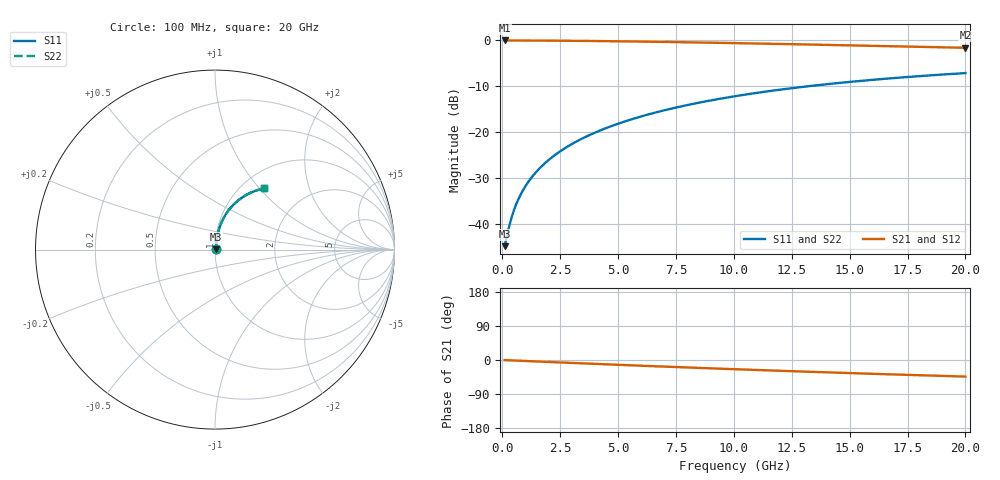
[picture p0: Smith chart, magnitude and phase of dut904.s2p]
! Touchstone file exported from HFSS 2024.1.0
!  File:  C:/UserFiles/LocalFiles/RDL_TSV_Batchsim/temp_RDL_bottom_904_1779940179.aedt
!  Generated:  11:52:33 AM May 28, 2026
!  Design:  RDL_bottom
!  Project:  temp_RDL_bottom_904_1779940179
!  Setup:  Setup1
!  Solution:  Sweep
! Variables:
!  dtsv = 10.80580581um
!  hbump = 3um
!  htsv = 51.3um
!  ldown = 605.82um
!  lrdl = 100um
!  p = 40
!  p1 = 45.16um
!  rhole = 1um
!  t = 450um
!  tdown = 2.67um
!  trdl = 3.915915916um
!  wdown = 16.55um
!  wrdl = 20um
# GHz S MA R 50.000000
! Terminal data exported
! Port[1] = RDL1_T1
! Port[2] = RDL1_T2
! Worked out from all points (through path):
!   200 points, 100 MHz to 20 GHz, reference 50 ohm
!   highest |S21| = -0.04 dB at 100 MHz (marker M1); lowest = -1.6 dB at 20 GHz (marker M2)
!   group delay of S21, straight-line fit = 6.07 ps
!   lowest |S11| = -44.9 dB at 100 MHz (marker M3), VSWR 1.01, Z = 50.5 + j0.264 ohm
!   |S11| at or under -10 dB: start of sweep to 13.27 GHz
!   |S22| runs from -44.9 to -7.2 dB; largest |S21 - S12| = 2.8e-15
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0.1  0.005659 27.5  0.995 -0.3  0.995 -0.3  0.005659 27.5
! Gamma 0 0 0 0
! Port Impedance 50 0 50 0
0.3  0.009378 55.7  0.9947 -0.8  0.9947 -0.8  0.009378 55.7
0.4  0.01161 61.9  0.9945 -1.1  0.9945 -1.1  0.01161 61.9
0.5  0.01391 65.9  0.9943 -1.3  0.9943 -1.3  0.01391 66.0
0.6  0.01622 68.8  0.9941 -1.6  0.9941 -1.6  0.01622 68.8
0.7  0.01855 70.9  0.9939 -1.9  0.9939 -1.9  0.01854 70.9
0.9  0.02321 73.9  0.9934 -2.4  0.9934 -2.4  0.02321 73.9
1.2  0.03027 76.6  0.9927 -3.1  0.9927 -3.1  0.03027 76.6
1.4  0.035 77.7  0.9923 -3.7  0.9923 -3.7  0.035 77.8
1.7  0.04215 78.9  0.9914 -4.4  0.9914 -4.4  0.04215 78.9
2.2  0.05417 79.9  0.9898 -5.7  0.9898 -5.7  0.05417 79.9
2.8  0.06872 80.3  0.9874 -7.2  0.9874 -7.2  0.06872 80.3
3.5  0.08583 80.1  0.9839 -9.0  0.9839 -9.0  0.08583 80.1
4.2  0.103 79.5  0.9799 -10.7  0.9799 -10.7  0.1031 79.6
5  0.1228 78.6  0.9747 -12.7  0.9747 -12.7  0.1228 78.6
5.9  0.1451 77.3  0.9681 -14.9  0.9681 -14.9  0.1451 77.3
6.8  0.1672 75.8  0.9608 -17.0  0.9608 -17.0  0.1673 75.9
8.4  0.2061 72.9  0.9466 -20.7  0.9466 -20.7  0.2062 73.0
10.1  0.2463 69.7  0.9304 -24.5  0.9304 -24.5  0.2464 69.7
13.4  0.3188 63.2  0.8966 -31.4  0.8966 -31.4  0.319 63.3
16.7  0.383 57.0  0.8617 -37.8  0.8617 -37.8  0.3833 57.0
20  0.4383 51.1  0.8274 -43.8  0.8274 -43.8  0.4386 51.2
